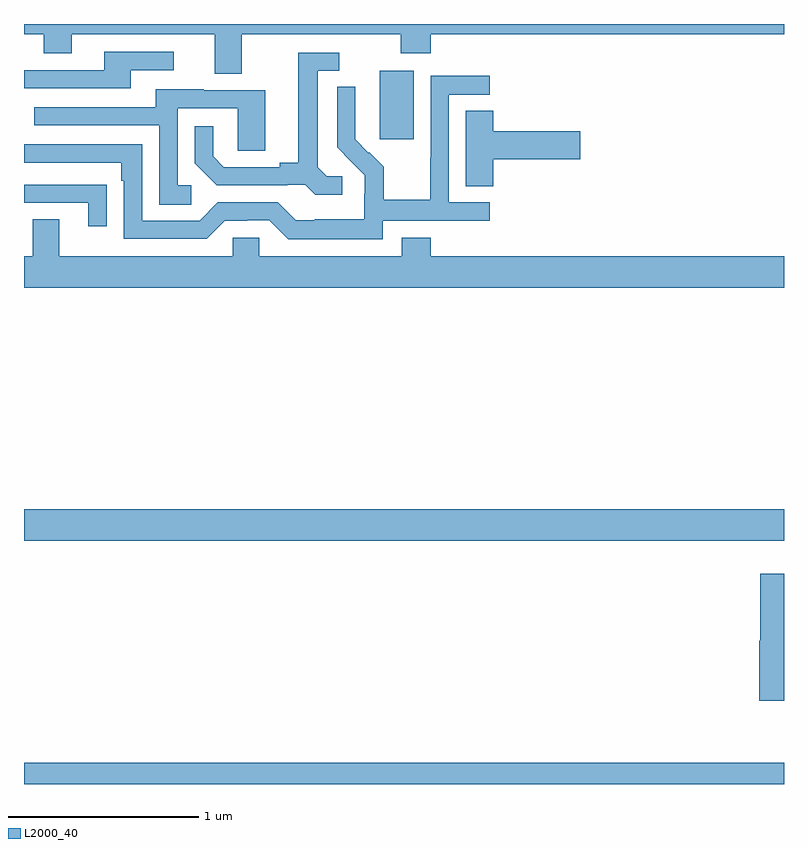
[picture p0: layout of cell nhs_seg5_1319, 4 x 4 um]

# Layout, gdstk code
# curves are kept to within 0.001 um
import gdstk
lib = gdstk.Library(unit=1e-6, precision=1e-09)
def R(c, l, rs):  # rectangles x0, y0, x1, y1
    for r in rs: c.add(gdstk.rectangle(r[:2], r[2:], *l))
def P(c, l, *ps):  # polygons
    for p in ps: c.add(gdstk.Polygon(p, *l))
L2000_40 = (2000, 40)

nhs_seg5_1319 = lib.new_cell('nhs_seg5_1319')
R(nhs_seg5_1319, L2000_40, [(191,868.799,195,868.912), (191,870.08,195,870.244), (192.872,872.193,193.051,872.554)])
P(nhs_seg5_1319, L2000_40, [(192.145,872.744),(192.982,872.744),(192.982,872.645),(193.142,872.645),(193.142,872.744),(195,872.744),(195,872.799),(191,872.799),(191,872.744),(191.104,872.744),(191.104,872.645),(191.251,872.645),(191.251,872.744),(192.005,872.744),(192.005,872.536),(192.145,872.536)],
  [(191.563,872.556),(191.788,872.556),(191.788,872.652),(191.423,872.652),(191.423,872.556),(191,872.556),(191,872.46),(191.563,872.46)],
  [(192.676,871.998),(192.594,871.998),(192.547,872.045),(192.547,872.553),(192.658,872.553),(192.658,872.649),(192.443,872.649),(192.443,872.069),(192.347,872.069),(192.347,872.046),(192.052,872.046),(191.995,872.103),(191.995,872.26),(191.898,872.26),(191.898,872.066),(192.014,871.95),(192.386,871.95),(192.386,871.953),(192.48,871.953),(192.532,871.901),(192.676,871.901)],
  [(192.888,871.764),(193.45,871.764),(193.45,871.86),(193.236,871.86),(193.236,872.427),(193.45,872.427),(193.45,872.526),(193.14,872.526),(193.14,872.096),(193.138,872.096),(193.138,871.873),(192.893,871.873),(192.893,872.047),(192.816,872.124),(192.813,872.121),(192.743,872.192),(192.744,872.468),(192.648,872.468),(192.648,872.15),(192.794,872.002),(192.794,871.905),(192.792,871.905),(192.792,871.771),(192.529,871.771),(192.529,871.767),(192.429,871.767),(192.336,871.86),(192.021,871.86),(191.925,871.764),(191.622,871.764),(191.622,872.166),(191,872.166),(191,872.07),(191.513,872.07),(191.513,871.973),(191.526,871.973),(191.526,871.668),(191.961,871.668),(192.057,871.764),(192.176,871.764),(192.176,871.767),(192.291,871.767),(192.391,871.667),(192.888,871.667)],
  [(191.881,871.95),(191.808,871.95),(191.808,872.355),(192.126,872.355),(192.126,872.131),(192.271,872.131),(192.271,872.451),(191.947,872.451),(191.947,872.455),(191.693,872.455),(191.693,872.361),(191.053,872.361),(191.053,872.265),(191.712,872.265),(191.712,871.849),(191.881,871.849)],
  [(193.469,872.087),(193.927,872.087),(193.927,872.234),(193.469,872.234),(193.469,872.342),(193.325,872.342),(193.325,871.945),(193.469,871.945)],
  [(191.435,871.952),(191.333,871.952),(191.333,871.953),(191,871.953),(191,871.857),(191.339,871.857),(191.339,871.734),(191.435,871.734)],
  [(195,871.576),(193.142,871.576),(193.142,871.675),(192.989,871.675),(192.989,871.576),(192.237,871.576),(192.237,871.674),(192.099,871.674),(192.099,871.576),(191.185,871.576),(191.185,871.771),(191.045,871.771),(191.045,871.576),(191,871.576),(191,871.412),(195,871.412)],
  [(195,869.905),(194.876,869.905),(194.876,869.553),(194.87,869.553),(194.87,869.238),(195,869.238)])

lib.write_gds('nhs_seg5_1319.gds')
